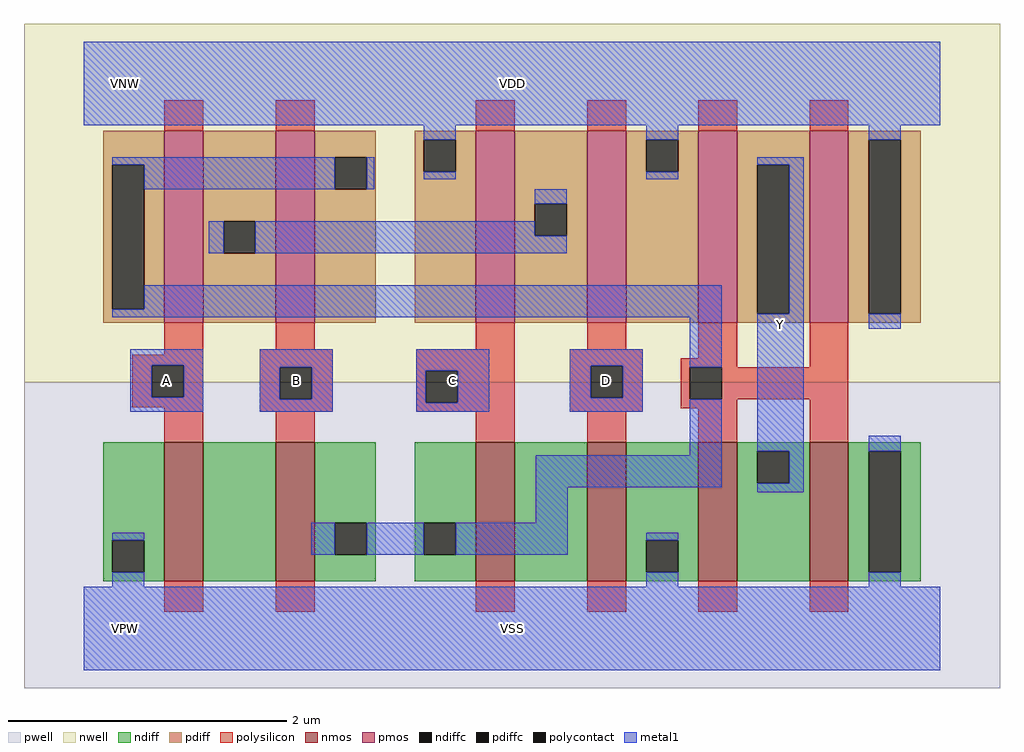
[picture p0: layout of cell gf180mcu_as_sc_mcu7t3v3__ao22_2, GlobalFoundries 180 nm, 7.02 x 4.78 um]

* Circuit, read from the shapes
.subckt gf180mcu_as_sc_mcu7t3v3__ao22_2 VDD VNW VPW VSS A B C D Y
XM1 n1 A VSS VPW nfet_03v3 w=1u l=0.28u
XM2 n2 B n1 VPW nfet_03v3 w=1u l=0.28u
XM3 n3 C n2 VPW nfet_03v3 w=1u l=0.28u
XM4 VSS D n3 VPW nfet_03v3 w=1u l=0.28u
XM5 Y n2 VSS VPW nfet_03v3 w=1u l=0.28u m=2
XM6 n4 A n2 VNW pfet_03v3 w=1.38u l=0.28u
XM7 n2 B n4 VNW pfet_03v3 w=1.38u l=0.28u
XM8 n4 C VDD VNW pfet_03v3 w=1.38u l=0.28u
XM9 VDD D n4 VNW pfet_03v3 w=1.38u l=0.28u
XM10 Y n2 VDD VNW pfet_03v3 w=1.38u l=0.28u m=2
.ends

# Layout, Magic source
magic
tech gf180mcuD
magscale 1 10
<< nwell >>
rect -86 354 1318 870
<< pwell >>
rect -86 -86 1318 354
<< nmos >>
rect 116 68 172 268
rect 276 68 332 268
rect 564 68 620 268
rect 724 68 780 268
rect 884 68 940 268
rect 1044 68 1100 268
<< pmos >>
rect 116 440 172 716
rect 276 440 332 716
rect 564 440 620 716
rect 724 440 780 716
rect 884 440 940 716
rect 1044 440 1100 716
<< ndiff >>
rect 28 127 116 268
rect 28 81 41 127
rect 87 81 116 127
rect 28 68 116 81
rect 172 68 276 268
rect 332 152 420 268
rect 332 106 361 152
rect 407 106 420 152
rect 332 68 420 106
rect 476 152 564 268
rect 476 106 489 152
rect 535 106 564 152
rect 476 68 564 106
rect 620 68 724 268
rect 780 127 884 268
rect 780 81 809 127
rect 855 81 884 127
rect 780 68 884 81
rect 940 255 1044 268
rect 940 209 969 255
rect 1015 209 1044 255
rect 940 68 1044 209
rect 1100 255 1204 268
rect 1100 81 1129 255
rect 1175 81 1204 255
rect 1100 68 1204 81
<< pdiff >>
rect 28 667 116 716
rect 28 459 41 667
rect 87 459 116 667
rect 28 440 116 459
rect 172 586 276 716
rect 172 540 201 586
rect 247 540 276 586
rect 172 440 276 540
rect 332 678 420 716
rect 332 632 361 678
rect 407 632 420 678
rect 332 440 420 632
rect 476 703 564 716
rect 476 657 489 703
rect 535 657 564 703
rect 476 440 564 657
rect 620 611 724 716
rect 620 565 649 611
rect 695 565 724 611
rect 620 440 724 565
rect 780 703 884 716
rect 780 657 809 703
rect 855 657 884 703
rect 780 440 884 657
rect 940 667 1044 716
rect 940 453 969 667
rect 1015 453 1044 667
rect 940 440 1044 453
rect 1100 703 1204 716
rect 1100 453 1129 703
rect 1175 453 1204 703
rect 1100 440 1204 453
<< ndiffc >>
rect 41 81 87 127
rect 361 106 407 152
rect 489 106 535 152
rect 809 81 855 127
rect 969 209 1015 255
rect 1129 81 1175 255
<< pdiffc >>
rect 41 459 87 667
rect 201 540 247 586
rect 361 632 407 678
rect 489 657 535 703
rect 649 565 695 611
rect 809 657 855 703
rect 969 453 1015 667
rect 1129 453 1175 703
<< polysilicon >>
rect 116 716 172 760
rect 276 716 332 760
rect 564 716 620 760
rect 724 716 780 760
rect 884 716 940 760
rect 1044 716 1100 760
rect 116 394 172 440
rect 276 402 332 440
rect 564 402 620 440
rect 724 402 780 440
rect 70 379 172 394
rect 70 333 98 379
rect 144 333 172 379
rect 70 318 172 333
rect 116 268 172 318
rect 253 376 358 402
rect 253 330 282 376
rect 328 330 358 376
rect 253 312 358 330
rect 478 371 620 402
rect 478 325 492 371
rect 538 325 620 371
rect 478 312 620 325
rect 699 378 804 402
rect 884 389 940 440
rect 699 332 729 378
rect 775 332 804 378
rect 699 312 804 332
rect 859 376 940 389
rect 1044 376 1100 440
rect 859 330 872 376
rect 918 330 1100 376
rect 859 317 940 330
rect 276 268 332 312
rect 564 268 620 312
rect 724 268 780 312
rect 884 268 940 317
rect 1044 268 1100 330
rect 116 24 172 68
rect 276 24 332 68
rect 564 24 620 68
rect 724 24 780 68
rect 884 24 940 68
rect 1044 24 1100 68
<< polycontact >>
rect 98 333 144 379
rect 282 330 328 376
rect 492 325 538 371
rect 729 332 775 378
rect 872 330 918 376
<< metal1 >>
rect 0 724 1232 844
rect 489 703 535 724
rect 41 667 361 678
rect 87 632 361 667
rect 407 632 418 678
rect 489 646 535 657
rect 809 703 855 724
rect 1129 703 1175 724
rect 809 646 855 657
rect 969 667 1036 678
rect 649 611 695 632
rect 180 540 201 586
rect 247 565 649 586
rect 247 540 695 565
rect 87 459 918 494
rect 41 448 918 459
rect 67 379 172 402
rect 67 333 98 379
rect 144 333 172 379
rect 67 312 172 333
rect 253 376 358 402
rect 253 330 282 376
rect 328 330 358 376
rect 253 312 358 330
rect 478 371 583 402
rect 478 325 492 371
rect 538 325 583 371
rect 478 312 583 325
rect 699 378 804 402
rect 699 332 729 378
rect 775 332 804 378
rect 699 312 804 332
rect 872 376 918 448
rect 872 249 918 330
rect 650 203 918 249
rect 1015 453 1036 667
rect 969 255 1036 453
rect 1129 431 1175 453
rect 1015 209 1036 255
rect 650 152 696 203
rect 969 196 1036 209
rect 1129 255 1175 277
rect 41 127 87 138
rect 327 106 361 152
rect 407 106 489 152
rect 535 106 696 152
rect 809 127 855 138
rect 41 60 87 81
rect 809 60 855 81
rect 1129 60 1175 81
rect 0 -60 1232 60
<< labels >>
flabel metal1 s 0 724 1232 844 0 FreeSans 400 0 0 0 VDD
port 1 nsew power bidirectional abutment
flabel metal1 s 0 -60 1232 60 0 FreeSans 400 0 0 0 VSS
port 4 nsew ground bidirectional abutment
flabel nwell s 10 734 110 834 0 FreeSans 400 0 0 0 VNW
port 2 nsew power bidirectional
flabel pwell s 10 -50 110 50 0 FreeSans 400 0 0 0 VPW
port 3 nsew ground bidirectional
flabel metal1 67 312 172 402 0 FreeSans 200 0 0 0 A
port 5 nsew signal input
flabel metal1 253 312 358 402 0 FreeSans 200 0 0 0 B
port 6 nsew signal input
flabel metal1 478 312 583 402 0 FreeSans 200 0 0 0 C
port 7 nsew signal input
flabel metal1 699 312 804 402 0 FreeSans 200 0 0 0 D
port 8 nsew signal input
flabel metal1 969 196 1036 678 0 FreeSans 200 0 0 0 Y
port 9 nsew signal output
<< properties >>
string FIXED_BBOX 0 0 1232 784
string LEFclass CORE
string LEFsite unithd
string LEFsymmetry X Y
string MASKHINTS_NPLUS -16 -46 1248 354
string MASKHINTS_PPLUS -16 354 1248 830
<< end >>
